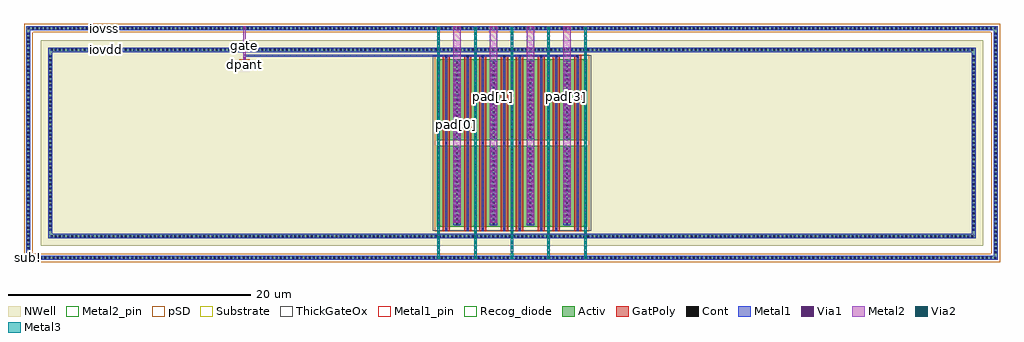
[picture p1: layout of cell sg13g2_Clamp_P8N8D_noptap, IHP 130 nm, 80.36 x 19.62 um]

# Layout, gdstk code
import gdstk
lib = gdstk.Library(unit=1e-6, precision=5e-09)
def R(c, l, rs):  # rectangles x0, y0, x1, y1
    for r in rs: c.add(gdstk.rectangle(r[:2], r[2:], *l))
def A(c, l, x, y, w, h, nx, ny, dx, dy):  # array of equal rectangles
    R(c, l, [(x+i*dx, y+j*dy, x+i*dx+w, y+j*dy+h) for i in range(nx) for j in range(ny)])
def P(c, l, *ps):  # polygons
    for p in ps: c.add(gdstk.Polygon(p, *l))
Activ = (1, 0)
GatPoly = (5, 0)
Cont = (6, 0)
Metal1 = (8, 0)
Metal1_pin = (8, 2)
Metal2 = (10, 0)
Metal2_pin = (10, 2)
pSD = (14, 0)
Via1 = (19, 0)
Via2 = (29, 0)
Metal3 = (30, 0)
NWell = (31, 0)
Substrate = (40, 0)
ThickGateOx = (44, 0)
Recog_diode = (99, 31)

sg13g2_clamp_p8n8d_nopta = lib.new_cell('sg13g2_Clamp_P8N8D_noptap')
R(sg13g2_clamp_p8n8d_nopta, Activ, [(33.81,2.75,46.19,9.41), (33.81,9.85,46.19,16.51), (17.74,15.86,18.22,16.34)])
P(sg13g2_clamp_p8n8d_nopta, Activ, [(0,0),(0,18.92),(0.34,18.92),(0.34,0.34),(79.66,0.34),(79.66,18.92),(0,18.92),(0,19.26),(80,19.26),(80,0)],
  [(1.8,1.8),(1.8,17.12),(2.14,17.12),(2.14,2.14),(77.86,2.14),(77.86,17.12),(1.8,17.12),(1.8,17.46),(78.2,17.46),(78.2,1.8)])
R(sg13g2_clamp_p8n8d_nopta, GatPoly, [(34.28,2.38,34.88,16.88), (36.06,2.38,36.66,16.88), (37.3,2.38,37.9,16.88), (39.08,2.38,39.68,16.88), (40.32,2.38,40.92,16.88), (42.1,2.38,42.7,16.88), (43.34,2.38,43.94,16.88), (45.12,2.38,45.72,16.88)])
A(sg13g2_clamp_p8n8d_nopta, Cont, 0.14, 0.09, 0.16, 0.16, 235, 2, 0.34, 18.92)
A(sg13g2_clamp_p8n8d_nopta, Cont, 0.09, 0.54, 0.16, 0.16, 1, 54, 0, 0.34)
A(sg13g2_clamp_p8n8d_nopta, Cont, 79.75, 0.54, 0.16, 0.16, 1, 54, 0, 0.34)
A(sg13g2_clamp_p8n8d_nopta, Cont, 2.01, 1.89, 0.16, 0.16, 224, 2, 0.34, 15.32)
A(sg13g2_clamp_p8n8d_nopta, Cont, 1.89, 2.41, 0.16, 0.16, 1, 43, 0, 0.34)
A(sg13g2_clamp_p8n8d_nopta, Cont, 77.95, 2.41, 0.16, 0.16, 1, 43, 0, 0.34)
A(sg13g2_clamp_p8n8d_nopta, Cont, 34.5, 2.45, 0.16, 0.16, 1, 3, 0, 7.1)
A(sg13g2_clamp_p8n8d_nopta, Cont, 36.28, 2.45, 0.16, 0.16, 1, 3, 0, 7.1)
A(sg13g2_clamp_p8n8d_nopta, Cont, 37.52, 2.45, 0.16, 0.16, 1, 3, 0, 7.1)
A(sg13g2_clamp_p8n8d_nopta, Cont, 39.3, 2.45, 0.16, 0.16, 1, 3, 0, 7.1)
A(sg13g2_clamp_p8n8d_nopta, Cont, 40.54, 2.45, 0.16, 0.16, 1, 3, 0, 7.1)
A(sg13g2_clamp_p8n8d_nopta, Cont, 42.32, 2.45, 0.16, 0.16, 1, 3, 0, 7.1)
A(sg13g2_clamp_p8n8d_nopta, Cont, 43.56, 2.45, 0.16, 0.16, 1, 3, 0, 7.1)
A(sg13g2_clamp_p8n8d_nopta, Cont, 45.34, 2.45, 0.16, 0.16, 1, 3, 0, 7.1)
A(sg13g2_clamp_p8n8d_nopta, Cont, 33.88, 2.94, 0.16, 0.16, 9, 19, 1.51, 0.34)
A(sg13g2_clamp_p8n8d_nopta, Cont, 33.88, 10.04, 0.16, 0.16, 9, 19, 1.51, 0.34)
R(sg13g2_clamp_p8n8d_nopta, Cont, [(17.9,16.02,18.06,16.18)])
A(sg13g2_clamp_p8n8d_nopta, Metal1, 33.855, 1.8, 0.21, 0.34, 5, 2, 3.02, 15.32)
A(sg13g2_clamp_p8n8d_nopta, Metal1, 33.855, 2.86, 0.21, 6.44, 5, 2, 3.02, 7.1)
A(sg13g2_clamp_p8n8d_nopta, Metal1, 35.16, 2.86, 0.62, 6.44, 4, 2, 3.02, 7.1)
R(sg13g2_clamp_p8n8d_nopta, Metal1, [(17.85,16.02,18.11,16.18)])
P(sg13g2_clamp_p8n8d_nopta, Metal1, [(0,0),(0,18.92),(0.34,18.92),(0.34,0.34),(79.66,0.34),(79.66,18.92),(0,18.92),(0,19.26),(80,19.26),(80,0)],
  [(1.8,1.8),(1.8,17.12),(2.14,17.12),(2.14,2.14),(77.86,2.14),(77.86,17.12),(1.8,17.12),(1.8,17.46),(78.2,17.46),(78.2,1.8)],
  [(34.5,2.37),(34.5,16.73),(18.08,16.73),(18.08,15.86),(17.87,15.86),(17.87,16.89),(45.5,16.89),(45.5,2.37),(45.34,2.37),(45.34,16.73),(43.72,16.73),(43.72,2.37),(43.56,2.37),(43.56,16.73),(42.48,16.73),(42.48,2.37),(42.32,2.37),(42.32,16.73),(40.7,16.73),(40.7,2.37),(40.54,2.37),(40.54,16.73),(39.46,16.73),(39.46,2.37),(39.3,2.37),(39.3,16.73),(37.68,16.73),(37.68,2.37),(37.52,2.37),(37.52,16.73),(36.44,16.73),(36.44,2.37),(36.28,2.37),(36.28,16.73),(34.66,16.73),(34.66,2.37)])
R(sg13g2_clamp_p8n8d_nopta, Metal1_pin, [(5.405,17.12,7.675,17.46), (5.26,18.92,7.525,19.26)])
A(sg13g2_clamp_p8n8d_nopta, Metal2, 33.86, 0, 0.2, 19.26, 5, 1, 3.02, 0)
A(sg13g2_clamp_p8n8d_nopta, Metal2, 35.165, 3.065, 0.61, 16.195, 4, 1, 3.02, 0)
R(sg13g2_clamp_p8n8d_nopta, Metal2, [(17.875,16.025,18.075,19.26)])
A(sg13g2_clamp_p8n8d_nopta, Metal2_pin, 35.165, 3.065, 0.61, 16.195, 4, 1, 3.02, 0)
R(sg13g2_clamp_p8n8d_nopta, Metal2_pin, [(17.875,16.025,18.075,19.26)])
R(sg13g2_clamp_p8n8d_nopta, pSD, [(33.63,2.35,46.37,16.91), (17.56,15.68,18.4,16.52)])
P(sg13g2_clamp_p8n8d_nopta, pSD, [(-0.18,-0.18),(-0.18,18.74),(0.52,18.74),(0.52,0.52),(79.48,0.52),(79.48,18.74),(-0.18,18.74),(-0.18,19.44),(80.18,19.44),(80.18,-0.18)])
A(sg13g2_clamp_p8n8d_nopta, Via1, 33.865, 1.875, 0.19, 0.19, 5, 2, 3.02, 15.32)
A(sg13g2_clamp_p8n8d_nopta, Via1, 33.865, 3.115, 0.19, 0.19, 1, 15, 0, 0.41)
A(sg13g2_clamp_p8n8d_nopta, Via1, 35.17, 3.115, 0.19, 0.19, 1, 15, 0, 0.41)
A(sg13g2_clamp_p8n8d_nopta, Via1, 35.58, 3.115, 0.19, 0.19, 3, 15, 1.305, 0.41)
A(sg13g2_clamp_p8n8d_nopta, Via1, 38.6, 3.115, 0.19, 0.19, 3, 15, 1.305, 0.41)
A(sg13g2_clamp_p8n8d_nopta, Via1, 41.62, 3.115, 0.19, 0.19, 3, 15, 1.305, 0.41)
A(sg13g2_clamp_p8n8d_nopta, Via1, 44.64, 3.115, 0.19, 0.19, 1, 15, 0, 0.41)
A(sg13g2_clamp_p8n8d_nopta, Via1, 45.945, 3.115, 0.19, 0.19, 1, 15, 0, 0.41)
A(sg13g2_clamp_p8n8d_nopta, Via1, 33.865, 10.215, 0.19, 0.19, 1, 15, 0, 0.41)
A(sg13g2_clamp_p8n8d_nopta, Via1, 35.17, 10.215, 0.19, 0.19, 1, 15, 0, 0.41)
A(sg13g2_clamp_p8n8d_nopta, Via1, 35.58, 10.215, 0.19, 0.19, 3, 15, 1.305, 0.41)
A(sg13g2_clamp_p8n8d_nopta, Via1, 38.6, 10.215, 0.19, 0.19, 3, 15, 1.305, 0.41)
A(sg13g2_clamp_p8n8d_nopta, Via1, 41.62, 10.215, 0.19, 0.19, 3, 15, 1.305, 0.41)
A(sg13g2_clamp_p8n8d_nopta, Via1, 44.64, 10.215, 0.19, 0.19, 1, 15, 0, 0.41)
A(sg13g2_clamp_p8n8d_nopta, Via1, 45.945, 10.215, 0.19, 0.19, 1, 15, 0, 0.41)
R(sg13g2_clamp_p8n8d_nopta, Via1, [(17.88,16.075,18.07,16.265), (17.88,16.485,18.07,16.675)])
A(sg13g2_clamp_p8n8d_nopta, Via2, 33.865, 0.105, 0.19, 0.19, 5, 47, 3.02, 0.41)
A(sg13g2_clamp_p8n8d_nopta, Metal3, 33.86, 0.055, 0.2, 19.15, 5, 1, 3.02, 0)
R(sg13g2_clamp_p8n8d_nopta, NWell, [(1.18,1.18,78.82,18.08), (33.19,2.13,46.81,17.13)])
P(sg13g2_clamp_p8n8d_nopta, Substrate, [(0,0),(0,18.92),(0.34,18.92),(0.34,0.34),(79.66,0.34),(79.66,18.92),(0,18.92),(0,19.26),(80,19.26),(80,0)])
R(sg13g2_clamp_p8n8d_nopta, ThickGateOx, [(33.47,2.41,46.53,16.85)])
R(sg13g2_clamp_p8n8d_nopta, Recog_diode, [(17.72,15.84,18.24,16.36)])
sg13g2_clamp_p8n8d_nopta.add(gdstk.Label('pad[0]', (35.47,11.165), layer=10, texttype=25))
sg13g2_clamp_p8n8d_nopta.add(gdstk.Label('pad[1]', (38.44,13.425), layer=10, texttype=25))
sg13g2_clamp_p8n8d_nopta.add(gdstk.Label('pad[2]', (41.48,13.465), layer=10, texttype=25))
sg13g2_clamp_p8n8d_nopta.add(gdstk.Label('pad[3]', (44.525,13.445), layer=10, texttype=25))
sg13g2_clamp_p8n8d_nopta.add(gdstk.Label('gate', (17.975,17.645), layer=10, texttype=25))
sg13g2_clamp_p8n8d_nopta.add(gdstk.Label('sub!', (0.17,0.17), layer=63, texttype=0))
sg13g2_clamp_p8n8d_nopta.add(gdstk.Label('dpant', (17.98,16.1), layer=63, texttype=0))
sg13g2_clamp_p8n8d_nopta.add(gdstk.Label('iovdd', (6.59,17.29), layer=8, texttype=25))
sg13g2_clamp_p8n8d_nopta.add(gdstk.Label('iovss', (6.42,19.09), layer=8, texttype=25))

lib.write_gds('sg13g2_Clamp_P8N8D_noptap.gds')
